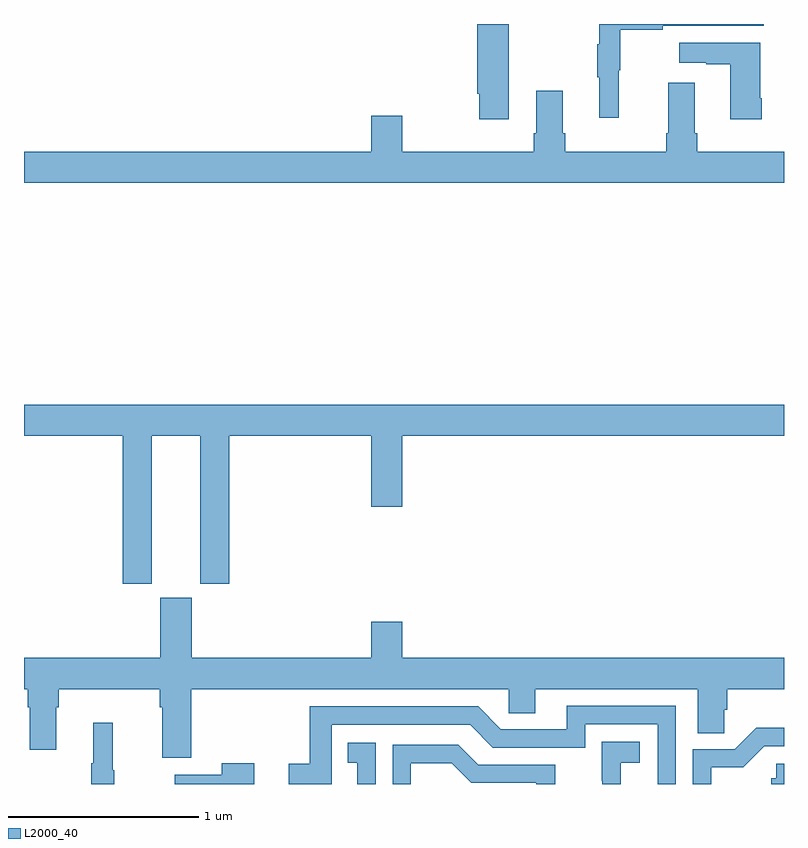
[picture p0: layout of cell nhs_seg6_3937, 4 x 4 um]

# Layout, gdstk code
import gdstk
lib = gdstk.Library(unit=1e-6, precision=1e-09)
def P(c, l, *ps):  # polygons
    for p in ps: c.add(gdstk.Polygon(p, *l))
L2000_40 = (2000, 40)

nhs_seg6_3937 = lib.new_cell('nhs_seg6_3937')
P(nhs_seg6_3937, L2000_40, [(346.13,953.256),(346.138,953.256),(346.138,953.47),(346.361,953.47),(346.361,953.49),(346.894,953.49),(346.894,953.5),(346.028,953.5),(346.028,953.393),(346.017,953.393),(346.017,953.219),(346.028,953.219),(346.028,953.007),(346.13,953.007)],
  [(345.55,953.5),(345.386,953.5),(345.386,953.133),(345.397,953.133),(345.397,952.998),(345.55,952.998)],
  [(346.884,953.11),(346.876,953.11),(346.876,953.401),(346.449,953.401),(346.449,953.297),(346.592,953.297),(346.592,953.287),(346.718,953.287),(346.718,952.998),(346.884,952.998)],
  [(347,952.828),(346.544,952.828),(346.544,952.924),(346.531,952.924),(346.531,953.191),(346.391,953.191),(346.391,952.924),(346.379,952.924),(346.379,952.828),(345.848,952.828),(345.848,952.924),(345.835,952.924),(345.835,953.149),(345.695,953.149),(345.695,952.924),(345.683,952.924),(345.683,952.828),(344.992,952.828),(344.992,953.017),(344.828,953.017),(344.828,952.828),(343,952.828),(343,952.664),(347,952.664)],
  [(343.672,951.332),(343.928,951.332),(343.928,950.553),(344.081,950.553),(344.081,951.332),(344.828,951.332),(344.828,950.958),(344.992,950.958),(344.992,951.332),(347,951.332),(347,951.496),(343,951.496),(343,951.332),(343.52,951.332),(343.52,950.553),(343.672,950.553)],
  [(343.88,950),(345.552,950),(345.552,949.873),(345.691,949.873),(345.691,950),(346.547,950),(346.547,949.768),(346.686,949.768),(346.686,949.891),(346.7,949.891),(346.7,950),(347,950),(347,950.164),(344.992,950.164),(344.992,950.353),(344.828,950.353),(344.828,950.164),(343.882,950.164),(343.882,950.481),(343.718,950.481),(343.718,950.164),(343,950.164),(343,950),(343.019,950),(343.019,949.904),(343.031,949.904),(343.031,949.68),(343.171,949.68),(343.171,949.904),(343.184,949.904),(343.184,950),(343.715,950),(343.715,949.904),(343.727,949.904),(343.727,949.638),(343.88,949.638)],
  [(344.619,949.812),(345.348,949.812),(345.468,949.692),(345.954,949.692),(345.954,949.815),(346.335,949.815),(346.335,949.5),(346.431,949.5),(346.431,949.911),(345.857,949.911),(345.857,949.788),(345.51,949.788),(345.39,949.908),(344.503,949.908),(344.503,949.606),(344.393,949.606),(344.393,949.5),(344.619,949.5)],
  [(343.474,949.572),(343.466,949.572),(343.466,949.822),(343.364,949.822),(343.364,949.609),(343.353,949.609),(343.353,949.5),(343.474,949.5)],
  [(346.617,949.587),(346.786,949.587),(346.897,949.698),(347,949.698),(347,949.796),(346.853,949.796),(346.74,949.683),(346.521,949.683),(346.521,949.5),(346.617,949.5)],
  [(346.142,949.613),(346.24,949.613),(346.24,949.723),(346.042,949.723),(346.042,949.517),(346.043,949.517),(346.043,949.5),(346.142,949.5)],
  [(344.85,949.717),(344.704,949.717),(344.704,949.611),(344.753,949.611),(344.753,949.5),(344.85,949.5)],
  [(345.036,949.61),(345.25,949.61),(345.354,949.506),(345.696,949.506),(345.696,949.5),(345.795,949.5),(345.795,949.602),(345.391,949.602),(345.286,949.707),(344.94,949.707),(344.94,949.5),(345.036,949.5)],
  [(344.212,949.609),(344.042,949.609),(344.042,949.549),(343.793,949.549),(343.793,949.5),(344.212,949.5)],
  [(347,949.606),(346.959,949.606),(346.959,949.53),(346.933,949.53),(346.933,949.5),(347,949.5)])

lib.write_gds('nhs_seg6_3937.gds')
